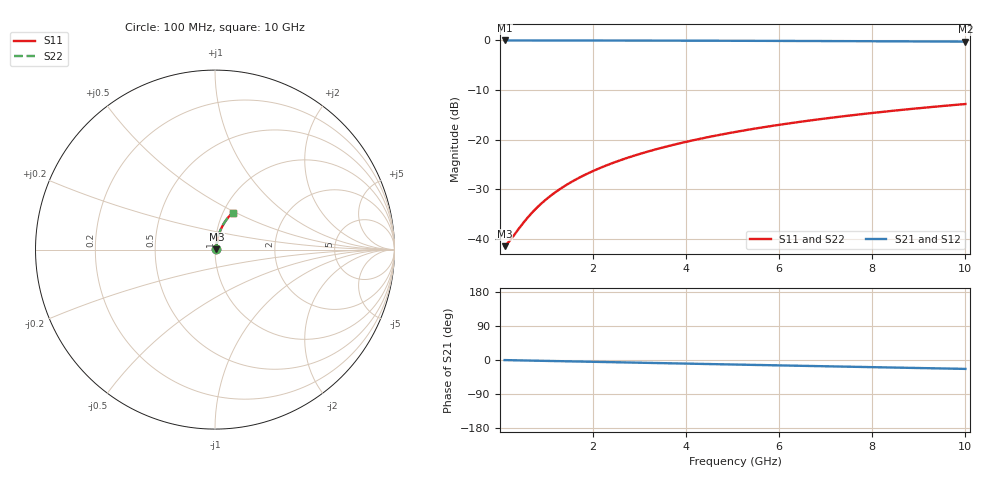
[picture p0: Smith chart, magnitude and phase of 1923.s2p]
# Hz S RI R 50.00
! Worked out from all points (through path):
!   100 points, 100 MHz to 10 GHz, reference 50 ohm
!   highest |S21| = -0.07 dB at 100 MHz (marker M1); lowest = -0.3 dB at 10 GHz (marker M2)
!   group delay of S21, straight-line fit = 6.52 ps
!   lowest |S11| = -41.5 dB at 100 MHz (marker M3), VSWR 1.02, Z = 50.8 + j0.238 ohm
!   |S11| at or under -10 dB: start of sweep to end of sweep
!   |S22| runs from -41.5 to -12.9 dB; largest |S21 - S12| = 0
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1e8  0.00813 0.00234  0.9919 -0.00413  0.9919 -0.00413  0.00813 0.00234
2e8  0.00821 0.00469  0.9918 -0.00825  0.9918 -0.00825  0.00821 0.00469
5e8  0.00851 0.0117  0.9914 -0.0206  0.9914 -0.0206  0.00851 0.0117
6e8  0.00864 0.0141  0.9913 -0.0247  0.9913 -0.0247  0.00864 0.0141
7e8  0.00879 0.0164  0.9911 -0.0289  0.9911 -0.0289  0.00879 0.0164
9e8  0.00914 0.0211  0.9907 -0.0371  0.9907 -0.0371  0.00914 0.0211
1.1e9  0.00956 0.0257  0.9902 -0.0453  0.9902 -0.0453  0.00956 0.0257
1.3e9  0.0101 0.0304  0.9897 -0.0535  0.9897 -0.0535  0.0101 0.0304
1.5e9  0.0106 0.035  0.989 -0.0618  0.989 -0.0618  0.0106 0.035
1.8e9  0.0116 0.042  0.9878 -0.0741  0.9878 -0.0741  0.0116 0.042
2.1e9  0.0128 0.0489  0.9865 -0.0863  0.9865 -0.0863  0.0128 0.0489
2.5e9  0.0146 0.0581  0.9844 -0.1026  0.9844 -0.1026  0.0146 0.0581
2.9e9  0.0167 0.0672  0.9819 -0.1188  0.9819 -0.1188  0.0167 0.0672
3.4e9  0.0198 0.0784  0.9783 -0.139  0.9783 -0.139  0.0198 0.0784
3.8e9  0.0226 0.0873  0.9751 -0.155  0.9751 -0.155  0.0226 0.0873
4.2e9  0.0256 0.096  0.9715 -0.171  0.9715 -0.171  0.0256 0.096
5.1e9  0.0335 0.1153  0.9622 -0.2063  0.9622 -0.2063  0.0335 0.1153
5.9e9  0.0417 0.1319  0.9526 -0.2372  0.9526 -0.2372  0.0417 0.1319
6.7e9  0.0509 0.1478  0.9418 -0.2674  0.9418 -0.2674  0.0509 0.1478
7.5e9  0.0611 0.1629  0.9297 -0.297  0.9297 -0.297  0.0611 0.1629
8.4e9  0.0736 0.1791  0.9149 -0.3293  0.9149 -0.3293  0.0736 0.1791
1e10  0.0983 0.2052  0.8853 -0.3842  0.8853 -0.3842  0.0983 0.2052
